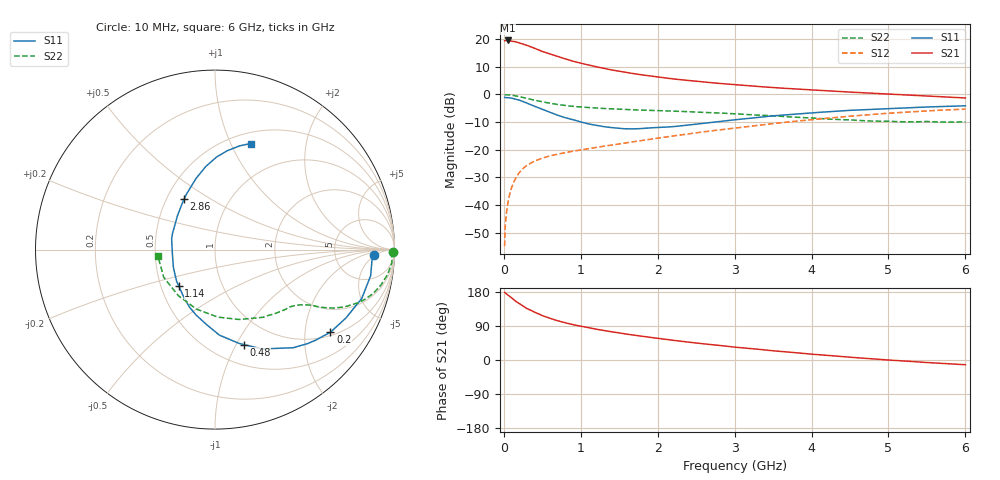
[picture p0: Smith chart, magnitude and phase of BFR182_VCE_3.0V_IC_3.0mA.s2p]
! Infineon Technologies  Discrete & RF Semiconductors
! BFR182
! VCE =  3.0 V,  IC =  3.0 mA
! Common Emitter S-Parameters:  Nov 2015
# GHz  S  MA  R  50
!  f  S11  S21  S12  S22
! GHz  MAG  ANG  MAG  ANG  MAG  ANG  MAG  ANG
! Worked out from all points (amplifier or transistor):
!   210 points, 10 MHz to 6 GHz, reference 50 ohm
!   highest |S21| = 19.5 dB at 50 MHz (marker M1)
!   |S21| within 3 dB of that: start of sweep to 417.4 MHz
!   unconditionally stable (mu >= 1): 1.297 GHz to 2.966 GHz
!   at 185 MHz: K = 0.24, MSG = 23.9 dB, |S12| = -28.9 dB
!   at 1.52 GHz: K = 1.05, MAG = 11.7 dB, |S12| = -17.8 dB
!   at 6 GHz: K = 0.89, MSG = 2.0 dB, |S12| = -5.3 dB
!   S11 on the Smith chart (normalised r, x): 10 MHz: 15, -4; 200 MHz: 1.10, -2.71; 480 MHz: 0.70, -1.07; 1.14 GHz: 0.62, -0.27; 2.86 GHz: 0.61, +0.39; 6 GHz: 0.62, +1.19
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0.01  0.8847 -2.0  9.392 178.5  0.0018 79.6  0.9943 -0.9
0.02  0.8767 -3.7  9.433 176.6  0.0045 93.9  0.9847 -1.7
0.05  0.8794 -9.5  9.488 171.8  0.0103 83.8  0.9882 -4.2
0.09  0.8636 -16.6  9.256 165.8  0.0185 80.3  0.9749 -7.4
0.15  0.8234 -27.5  9.026 155.5  0.0297 74.8  0.9453 -12.1
0.2  0.791 -35.6  8.58 148.9  0.0384 70.9  0.916 -15.3
0.3  0.6988 -51.5  7.752 135.8  0.0522 64.7  0.8499 -20.4
0.4  0.6128 -64.6  6.881 126.1  0.0624 59.9  0.7869 -24.0
0.48  0.5524 -73.2  6.165 119.1  0.0688 57.5  0.7454 -25.8
0.5  0.5395 -75.6  6.003 117.1  0.0704 57.0  0.7351 -26.3
0.6  0.4775 -87.0  5.406 109.9  0.0775 54.9  0.6937 -27.8
0.7  0.4205 -96.4  4.883 103.5  0.0831 54.1  0.6582 -29.0
0.9  0.35 -114.1  3.994 93.2  0.0941 53.7  0.6091 -30.5
1.02  0.3133 -124.3  3.623 88.3  0.1003 54.0  0.5907 -31.4
1.14  0.2862 -135.0  3.318 83.6  0.1069 54.5  0.5753 -32.3
1.6  0.239 -173.5  2.491 68.1  0.1338 56.8  0.5335 -36.3
2.02  0.2536 158.5  2.053 56.7  0.1631 57.8  0.5101 -41.4
2.86  0.3308 121.3  1.561 37.2  0.2341 56.2  0.4582 -55.6
3.1  0.359 114.3  1.469 32.2  0.2573 54.8  0.4382 -60.7
4.1  0.4749 94.8  1.187 13.9  0.3606 46.2  0.3674 -91.2
5.1  0.5629 81.5  1.003 -1.3  0.467 33.8  0.3233 -133.1
6  0.6237 71.4  0.864 -12.5  0.5435 20.3  0.3207 -173.9
